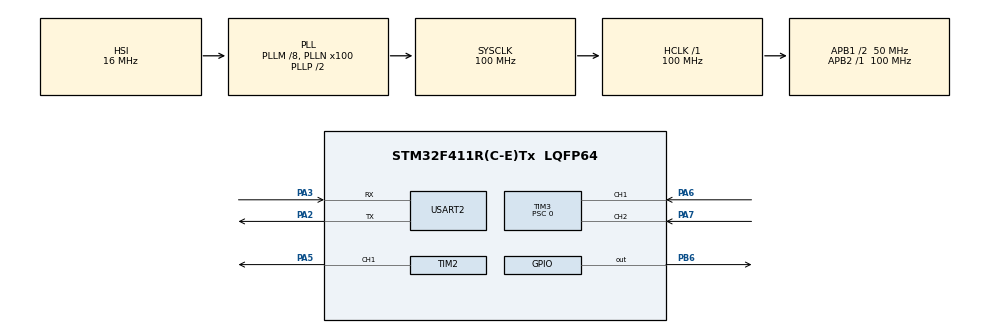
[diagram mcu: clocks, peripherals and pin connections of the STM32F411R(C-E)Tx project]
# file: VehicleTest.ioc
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Dma.Request0=USART2_RX
Dma.USART2_RX.0.Direction=DMA_PERIPH_TO_MEMORY
Dma.USART2_RX.0.FIFOMode=DMA_FIFOMODE_DISABLE
Dma.USART2_RX.0.Instance=DMA1_Stream5
Dma.USART2_RX.0.MemDataAlignment=DMA_MDATAALIGN_BYTE
Dma.USART2_RX.0.MemInc=DMA_MINC_ENABLE
Dma.USART2_RX.0.Mode=DMA_CIRCULAR
Dma.USART2_RX.0.PeriphDataAlignment=DMA_PDATAALIGN_BYTE
Dma.USART2_RX.0.PeriphInc=DMA_PINC_DISABLE
Dma.USART2_RX.0.Priority=DMA_PRIORITY_LOW
Mcu.Family=STM32F4
Mcu.Name=STM32F411R(C-E)Tx
Mcu.Package=LQFP64
NVIC.DMA1_Stream5_IRQn=true\:0\:0\:false\:false\:true\:false\:true\:true
NVIC.PriorityGroup=NVIC_PRIORITYGROUP_4
NVIC.TIM2_IRQn=true\:0\:0\:false\:false\:true\:true\:true\:true
NVIC.TIM4_IRQn=true\:0\:0\:false\:false\:true\:true\:true\:true
NVIC.USART2_IRQn=true\:0\:0\:false\:false\:true\:true\:true\:true
PA2.Mode=Asynchronous
PA2.Signal=USART2_TX
PA3.Mode=Asynchronous
PA3.Signal=USART2_RX
PA5.Signal=S_TIM2_CH1_ETR
PA6.GPIO_PuPd=GPIO_PULLUP
PA6.Signal=S_TIM3_CH1
PA7.GPIO_PuPd=GPIO_PULLUP
PA7.Signal=S_TIM3_CH2
PB6.Signal=GPIO_Output
ProjectManager.HeapSize=0x200
ProjectManager.StackSize=0x400
ProjectManager.TargetToolchain=STM32CubeIDE
RCC.48MHZClocksFreq_Value=50000000
RCC.AHBFreq_Value=100000000
RCC.APB1CLKDivider=RCC_HCLK_DIV2
RCC.APB1Freq_Value=50000000
RCC.APB1TimFreq_Value=100000000
RCC.APB2Freq_Value=100000000
RCC.APB2TimFreq_Value=100000000
RCC.CortexFreq_Value=100000000
RCC.HCLKFreq_Value=100000000
RCC.HSE_VALUE=25000000
RCC.HSI_VALUE=16000000
RCC.LSE_VALUE=32768
RCC.PLLM=8
RCC.PLLN=100
RCC.SYSCLKFreq_VALUE=100000000
RCC.SYSCLKSource=RCC_SYSCLKSOURCE_PLLCLK
RCC.VCOOutputFreq_Value=200000000
SH.S_TIM2_CH1_ETR.0=TIM2_CH1,PWM Generation1 CH1
SH.S_TIM3_CH1.0=TIM3_CH1,Encoder_Interface
SH.S_TIM3_CH2.0=TIM3_CH2,Encoder_Interface
TIM2.Channel-PWM\ Generation1\ CH1=TIM_CHANNEL_1
TIM2.Period=256 - 1
TIM2.Prescaler=1307
TIM3.EncoderMode=TIM_ENCODERMODE_TI1
TIM3.Period=65535
TIM3.Prescaler=0
TIM4.Period=5000
TIM4.Prescaler=1000
USART2.VirtualMode=VM_ASYNC
VP_TIM2_VS_ClockSourceINT.Mode=Internal
VP_TIM4_VS_ClockSourceINT.Mode=Internal
board=custom

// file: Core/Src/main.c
/* USER CODE BEGIN Header */
/**
 ******************************************************************************
 * @file           : main.c
 * @brief          : Main program body
 ******************************************************************************
 * @attention
 *
 * Copyright (c) 2023 STMicroelectronics.
 * All rights reserved.
 *
 * This software is licensed under terms that can be found in the LICENSE file
 * in the root directory of this software component.
 * If no LICENSE file comes with this software, it is provided AS-IS.
 *
 ******************************************************************************
 */
/* USER CODE END Header */
#include "main.h"

TIM_HandleTypeDef htim2;
TIM_HandleTypeDef htim3;
TIM_HandleTypeDef htim4;

UART_HandleTypeDef huart2;
DMA_HandleTypeDef hdma_usart2_rx;

/* USER CODE BEGIN PV */

uint8_t msg[35] = { '\0' };
uint8_t rx[1];
uint8_t rxBuffer[10] = { '\0' };
uint8_t count = 0;
int32_t prevCounter = 0;
uint8_t flagSpeed = 0;
uint8_t flagRX = 0;
uint8_t flagStringOk = 0;
int16_t pwm = 0;

/* USER CODE END PV */

void SystemClock_Config(void);
static void MX_GPIO_Init(void);
static void MX_DMA_Init(void);
static void MX_TIM3_Init(void);
static void MX_USART2_UART_Init(void);
static void MX_TIM2_Init(void);
static void MX_TIM4_Init(void);

/* USER CODE BEGIN 0 */
void HAL_UART_RxCpltCallback(UART_HandleTypeDef *huart) {
	flagRX = 1;

}

void HAL_TIM_PeriodElapsedCallback(TIM_HandleTypeDef *htim) {
	if (htim->Instance == TIM4) {
		flagSpeed = 1;
	}

}

/* USER CODE END 0 */

int main(void) {

	/* MCU Configuration--------------------------------------------------------*/

	/* Reset of all peripherals, Initializes the Flash interface and the Systick. */
	HAL_Init();

	/* Configure the system clock */
	SystemClock_Config();

	/* Initialize all configured peripherals */
	MX_GPIO_Init();
	MX_DMA_Init();
	MX_TIM3_Init();
	MX_USART2_UART_Init();
	MX_TIM2_Init();
	MX_TIM4_Init();
	/* USER CODE BEGIN 2 */

	HAL_UART_Receive_DMA(&huart2, rx, 1);

	HAL_TIM_Encoder_Start(&htim3, TIM_CHANNEL_ALL);
	HAL_TIM_PWM_Start(&htim2, TIM_CHANNEL_1);
	HAL_TIM_Base_Start_IT(&htim4);

	/* USER CODE END 2 */

	/* Infinite loop */
	/* USER CODE BEGIN WHILE */
	while (1) {
		// HAL_UART_Receive_IT(&huart2, rx, 1);
		if (flagRX) {
			flagRX = 0;

			if (rx[0] != '\r') {
				rxBuffer[count] = rx[0];
				count++;

			} else {
				count = 0;
				flagStringOk = 1;

			}

			if (flagStringOk) {
				flagStringOk = 0;
				pwm = atoi(rxBuffer);
				memset(rxBuffer, "\0", 10);

			}

		}

		if (flagSpeed) {
			flagSpeed = 0;
			int currCounter = TIM3->CNT;
			int vel = (currCounter - prevCounter);
			sprintf(msg, "Speed = %i \n\r", vel);
			HAL_UART_Transmit(&huart2, msg, sizeof(msg), 100);
			prevCounter = currCounter;
		}

		if (pwm >= 0) {
			HAL_GPIO_WritePin(GPIOB, GPIO_PIN_6, GPIO_PIN_RESET);
			TIM2->CCR1 = pwm;

		}

		else {
			HAL_GPIO_WritePin(GPIOB, GPIO_PIN_6, GPIO_PIN_SET);
			TIM2->CCR1 = 256 + pwm;
		}

		/* USER CODE END WHILE */

	}
}

void SystemClock_Config(void) {
	RCC_OscInitTypeDef RCC_OscInitStruct = { 0 };
	RCC_ClkInitTypeDef RCC_ClkInitStruct = { 0 };

	/** Configure the main internal regulator output voltage
	 */
	__HAL_RCC_PWR_CLK_ENABLE();
	__HAL_PWR_VOLTAGESCALING_CONFIG(PWR_REGULATOR_VOLTAGE_SCALE1);

	/** Initializes the RCC Oscillators according to the specified parameters
	 * in the RCC_OscInitTypeDef structure.
	 */
	RCC_OscInitStruct.OscillatorType = RCC_OSCILLATORTYPE_HSI;
	RCC_OscInitStruct.HSIState = RCC_HSI_ON;
	RCC_OscInitStruct.HSICalibrationValue = RCC_HSICALIBRATION_DEFAULT;
	RCC_OscInitStruct.PLL.PLLState = RCC_PLL_ON;
	RCC_OscInitStruct.PLL.PLLSource = RCC_PLLSOURCE_HSI;
	RCC_OscInitStruct.PLL.PLLM = 8;
	RCC_OscInitStruct.PLL.PLLN = 100;
	RCC_OscInitStruct.PLL.PLLP = RCC_PLLP_DIV2;
	RCC_OscInitStruct.PLL.PLLQ = 4;
	if (HAL_RCC_OscConfig(&RCC_OscInitStruct) != HAL_OK) {
		Error_Handler();
	}

	/** Initializes the CPU, AHB and APB buses clocks
	 */
	RCC_ClkInitStruct.ClockType = RCC_CLOCKTYPE_HCLK | RCC_CLOCKTYPE_SYSCLK
			| RCC_CLOCKTYPE_PCLK1 | RCC_CLOCKTYPE_PCLK2;
	RCC_ClkInitStruct.SYSCLKSource = RCC_SYSCLKSOURCE_PLLCLK;
	RCC_ClkInitStruct.AHBCLKDivider = RCC_SYSCLK_DIV1;
	RCC_ClkInitStruct.APB1CLKDivider = RCC_HCLK_DIV2;
	RCC_ClkInitStruct.APB2CLKDivider = RCC_HCLK_DIV1;

	if (HAL_RCC_ClockConfig(&RCC_ClkInitStruct, FLASH_LATENCY_3) != HAL_OK) {
		Error_Handler();
	}
}

static void MX_TIM2_Init(void) {

	TIM_ClockConfigTypeDef sClockSourceConfig = { 0 };
	TIM_MasterConfigTypeDef sMasterConfig = { 0 };
	TIM_OC_InitTypeDef sConfigOC = { 0 };

	htim2.Instance = TIM2;
	htim2.Init.Prescaler = 1307;
	htim2.Init.CounterMode = TIM_COUNTERMODE_UP;
	htim2.Init.Period = 256 - 1;
	htim2.Init.ClockDivision = TIM_CLOCKDIVISION_DIV1;
	htim2.Init.AutoReloadPreload = TIM_AUTORELOAD_PRELOAD_DISABLE;
	if (HAL_TIM_Base_Init(&htim2) != HAL_OK) {
		Error_Handler();
	}
	sClockSourceConfig.ClockSource = TIM_CLOCKSOURCE_INTERNAL;
	if (HAL_TIM_ConfigClockSource(&htim2, &sClockSourceConfig) != HAL_OK) {
		Error_Handler();
	}
	if (HAL_TIM_PWM_Init(&htim2) != HAL_OK) {
		Error_Handler();
	}
	sMasterConfig.MasterOutputTrigger = TIM_TRGO_RESET;
	sMasterConfig.MasterSlaveMode = TIM_MASTERSLAVEMODE_DISABLE;
	if (HAL_TIMEx_MasterConfigSynchronization(&htim2, &sMasterConfig)
			!= HAL_OK) {
		Error_Handler();
	}
	sConfigOC.OCMode = TIM_OCMODE_PWM1;
	sConfigOC.Pulse = 0;
	sConfigOC.OCPolarity = TIM_OCPOLARITY_HIGH;
	sConfigOC.OCFastMode = TIM_OCFAST_DISABLE;
	if (HAL_TIM_PWM_ConfigChannel(&htim2, &sConfigOC, TIM_CHANNEL_1)
			!= HAL_OK) {
		Error_Handler();
	}
	HAL_TIM_MspPostInit(&htim2);

}

static void MX_TIM3_Init(void) {

	TIM_Encoder_InitTypeDef sConfig = { 0 };
	TIM_MasterConfigTypeDef sMasterConfig = { 0 };

	htim3.Instance = TIM3;
	htim3.Init.Prescaler = 0;
	htim3.Init.CounterMode = TIM_COUNTERMODE_UP;
	htim3.Init.Period = 65535;
	htim3.Init.ClockDivision = TIM_CLOCKDIVISION_DIV1;
	htim3.Init.AutoReloadPreload = TIM_AUTORELOAD_PRELOAD_DISABLE;
	sConfig.EncoderMode = TIM_ENCODERMODE_TI1;
	sConfig.IC1Polarity = TIM_ICPOLARITY_RISING;
	sConfig.IC1Selection = TIM_ICSELECTION_DIRECTTI;
	sConfig.IC1Prescaler = TIM_ICPSC_DIV1;
	sConfig.IC1Filter = 0;
	sConfig.IC2Polarity = TIM_ICPOLARITY_RISING;
	sConfig.IC2Selection = TIM_ICSELECTION_DIRECTTI;
	sConfig.IC2Prescaler = TIM_ICPSC_DIV1;
	sConfig.IC2Filter = 0;
	if (HAL_TIM_Encoder_Init(&htim3, &sConfig) != HAL_OK) {
		Error_Handler();
	}
	sMasterConfig.MasterOutputTrigger = TIM_TRGO_RESET;
	sMasterConfig.MasterSlaveMode = TIM_MASTERSLAVEMODE_DISABLE;
	if (HAL_TIMEx_MasterConfigSynchronization(&htim3, &sMasterConfig)
			!= HAL_OK) {
		Error_Handler();
	}

}

static void MX_TIM4_Init(void) {

	TIM_ClockConfigTypeDef sClockSourceConfig = { 0 };
	TIM_MasterConfigTypeDef sMasterConfig = { 0 };

	htim4.Instance = TIM4;
	htim4.Init.Prescaler = 1000;
	htim4.Init.CounterMode = TIM_COUNTERMODE_UP;
	htim4.Init.Period = 5000;
	htim4.Init.ClockDivision = TIM_CLOCKDIVISION_DIV1;
	htim4.Init.AutoReloadPreload = TIM_AUTORELOAD_PRELOAD_DISABLE;
	if (HAL_TIM_Base_Init(&htim4) != HAL_OK) {
		Error_Handler();
	}
	sClockSourceConfig.ClockSource = TIM_CLOCKSOURCE_INTERNAL;
	if (HAL_TIM_ConfigClockSource(&htim4, &sClockSourceConfig) != HAL_OK) {
		Error_Handler();
	}
	sMasterConfig.MasterOutputTrigger = TIM_TRGO_RESET;
	sMasterConfig.MasterSlaveMode = TIM_MASTERSLAVEMODE_DISABLE;
	if (HAL_TIMEx_MasterConfigSynchronization(&htim4, &sMasterConfig)
			!= HAL_OK) {
		Error_Handler();
	}

}

static void MX_USART2_UART_Init(void) {

	huart2.Instance = USART2;
	huart2.Init.BaudRate = 115200;
	huart2.Init.WordLength = UART_WORDLENGTH_8B;
	huart2.Init.StopBits = UART_STOPBITS_1;
	huart2.Init.Parity = UART_PARITY_NONE;
	huart2.Init.Mode = UART_MODE_TX_RX;
	huart2.Init.HwFlowCtl = UART_HWCONTROL_NONE;
	huart2.Init.OverSampling = UART_OVERSAMPLING_16;
	if (HAL_UART_Init(&huart2) != HAL_OK) {
		Error_Handler();
	}

}

static void MX_DMA_Init(void) {

	/* DMA controller clock enable */
	__HAL_RCC_DMA1_CLK_ENABLE();

	/* DMA interrupt init */
	/* DMA1_Stream5_IRQn interrupt configuration */
	HAL_NVIC_SetPriority(DMA1_Stream5_IRQn, 0, 0);
	HAL_NVIC_EnableIRQ(DMA1_Stream5_IRQn);

}

static void MX_GPIO_Init(void) {
	GPIO_InitTypeDef GPIO_InitStruct = { 0 };

	/* GPIO Ports Clock Enable */
	__HAL_RCC_GPIOA_CLK_ENABLE();
	__HAL_RCC_GPIOB_CLK_ENABLE();

	/*Configure GPIO pin Output Level */
	HAL_GPIO_WritePin(GPIOB, GPIO_PIN_6, GPIO_PIN_RESET);

	/*Configure GPIO pin : PB6 */
	GPIO_InitStruct.Pin = GPIO_PIN_6;
	GPIO_InitStruct.Mode = GPIO_MODE_OUTPUT_PP;
	GPIO_InitStruct.Pull = GPIO_NOPULL;
	GPIO_InitStruct.Speed = GPIO_SPEED_FREQ_LOW;
	HAL_GPIO_Init(GPIOB, &GPIO_InitStruct);

}

void Error_Handler(void) {
	__disable_irq();
	while (1) {
	}
}
